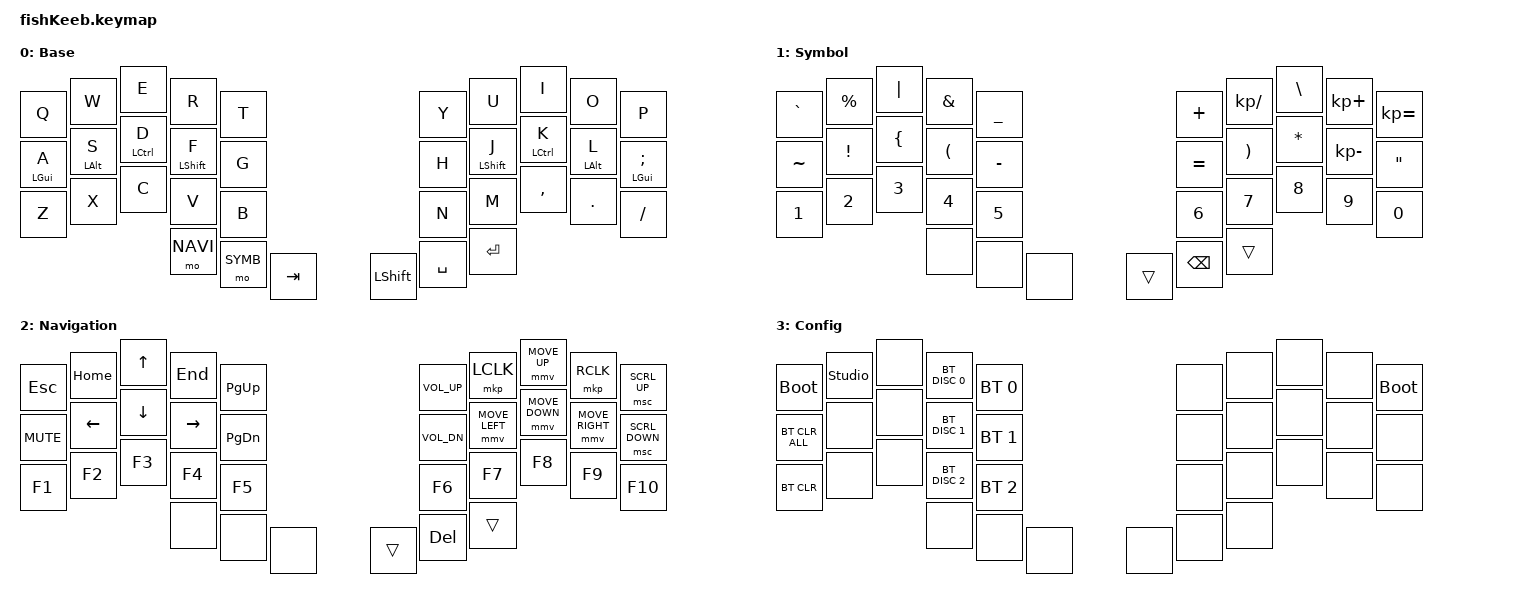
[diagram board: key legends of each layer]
#include <behaviors.dtsi>
#include <dt-bindings/zmk/keys.h>
#include <dt-bindings/zmk/bt.h>
#include <dt-bindings/zmk/pointing.h>
#include <dt-bindings/zmk/behaviors.h>

#define BASE 0
#define SYMB 1
#define NAVI 2
#define CONF 3


/ {  
    combos {
        compatible = "zmk,combos";
        
        combo_activate_layer_3 {
            timeout-ms = <50>;
            key-positions = <30 32>;
            bindings = <&mo CONF>;
        };
    };
    
    behaviors {
        mt: mod_tap {
            compatible = "zmk,behavior-hold-tap";
            #binding-cells = <2>;
            flavor = "balanced";
            require-prior-idle-ms = <125>;
            tapping-term-ms = <220>;
            quick-tap-ms = <175>;
            bindings = <&kp>, <&kp>;
            hold-trigger-on-release;
        };
    };

    keymap {
        compatible = "zmk,keymap";


        default_layer { // Layer 0
            display-name = "Base";
            bindings = <
                &kp Q    &kp W    &kp E    &kp R    &kp T                   
                &kp Y    &kp U    &kp I    &kp O    &kp P
                
                &mt LGUI A    &mt LALT S    &mt LCTRL D    &mt LSHFT F    &kp G                   
                &kp H    &mt LSHFT J    &mt LCTRL K    &mt LALT L    &mt LGUI SEMICOLON
                
                &kp Z    &kp X    &kp C        &kp V      &kp B                   
                &kp N    &kp M    &kp COMMA    &kp DOT    &kp SLASH
                
                &mo NAVI     &mo SYMB      &kp TAB    
                &kp LSHFT    &kp SPACE     &kp RET

            >;
        };

        symb_layer { //layer 1
            display-name = "Symbol";
            bindings = <
                &kp GRAVE   &kp PERCENT    &kp PIPE         &kp AMPERSAND  &kp UNDERSCORE
                &kp PLUS    &kp KP_SLASH   &kp BACKSLASH    &kp KP_PLUS    &kp KP_EQUAL

                &kp TILDE    &kp EXCLAMATION          &kp LEFT_BRACE    &kp LEFT_PARENTHESIS    &kp MINUS
                &kp EQUAL    &kp RIGHT_PARENTHESIS    &kp ASTERISK      &kp KP_MINUS            &kp DOUBLE_QUOTES

                &kp N1    &kp N2    &kp N3    &kp N4    &kp N5                 
                &kp N6    &kp N7    &kp N8    &kp N9    &kp N0
                                              
                &none     &none            &none
                &trans    &kp BACKSPACE    &trans
            >;
        };  

        navi_layer { //layer 2
            display-name = "Navigation";
            bindings = <
                &kp ESCAPE      &kp HOME     &kp UP          &kp END      &kp PG_UP   
                &kp C_VOL_UP    &mkp LCLK    &mmv MOVE_UP    &mkp RCLK    &msc SCRL_UP

                &kp K_MUTE      &kp LEFT          &kp DOWN          &kp RIGHT          &kp PG_DN   
                &kp C_VOL_DN    &mmv MOVE_LEFT    &mmv MOVE_DOWN    &mmv MOVE_RIGHT    &msc SCRL_DOWN

                &kp F1    &kp F2    &kp F3    &kp F4    &kp F5
                &kp F6    &kp F7    &kp F8    &kp F9    &kp F10

                &none     &none         &none
                &trans    &kp DELETE    &trans
            >;
        };


        config_layer { //layer 3
            display-name = "Config";
            bindings = <
                &bootloader    &studio_unlock    &none    &bt BT_DISC 0    &bt BT_SEL 0        
                &none          &none             &none    &none    &bootloader  

                &bt BT_CLR_ALL    &none    &none    &bt BT_DISC 1    &bt BT_SEL 1         
                &none    &none    &none    &none    &none   

                &bt BT_CLR    &none    &none    &bt BT_DISC 2    &bt BT_SEL 2       
                &none         &none    &none    &none    &none   

                &none   &none    &none 
                &none   &none    &none               
            >;
        }; 
        
        
        extra_1 {
            status = "reserved";
        }; 
        
        extra_2 {
            status = "reserved";
        };


    };
 };
